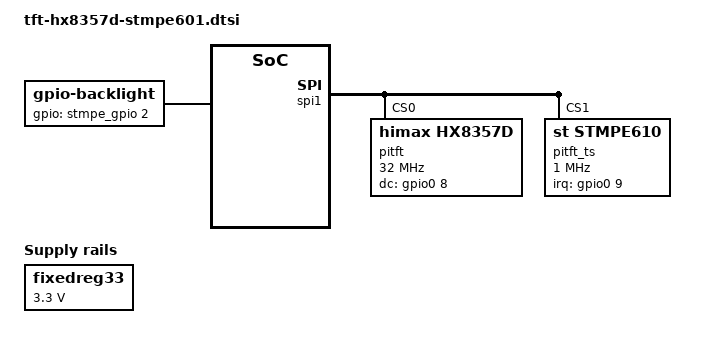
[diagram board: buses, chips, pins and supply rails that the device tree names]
/*
 * TFT controller specific code
 */

/include/ "tft-E2.dtsi"

&spi1 {
	num-cs = <2>;
	pinctrl-names = "default";
	pinctrl-0 = <&pinctrl_spi1_tft>;

	pitft: pitft@0{
		compatible = "himax,hx8357d";
		reg = <0>;

		spi-max-frequency = <32000000>;
		rotate = <90>;
		fps = <25>;
		bgr;
		buswidth = <8>;
		dc-gpios = <&gpio0 8 0>;
		debug = <0>;
	};

	pitft_ts@1 {
		#address-cells = <1>;
		#size-cells = <0>;
		compatible = "st,stmpe610";
		reg = <1>;

		spi-max-frequency = <1000000>;
		irq-gpio = <&gpio0 9 0x2>; /* IRQF_TRIGGER_FALLING */
		interrupts = <9 2>; /* high-to-low edge triggered */
		interrupt-parent = <&gpio0>;
		interrupt-controller;

		stmpe_touchscreen {
			compatible = "st,stmpe-ts";
			st,sample-time = <4>;
			st,mod-12b = <1>;
			st,ref-sel = <0>;
			st,adc-freq = <2>;
			st,ave-ctrl = <3>;
			st,touch-det-delay = <4>;
			st,settling = <2>;
			st,fraction-z = <7>;
			st,i-drive = <0>;
		};

		stmpe_gpio: stmpe_gpio {
			#gpio-cells = <2>;
			compatible = "st,stmpe-gpio";
			/*
			 * only GPIO2 is wired/available
			 * and it is wired to the backlight
			 */
			st,norequest-mask = <0x7b>;
		};
	};
};

/{
	backlight {
		compatible = "gpio-backlight";
		gpios = <&stmpe_gpio 2 0>;
		default-on;
	};

	fixedreg33: fixed33@0 {
		compatible = "regulator-fixed";
		regulator-name = "fixed-supply";
		regulator-min-microvolt = <3300000>;
		regulator-max-microvolt = <3300000>;
	};
};
